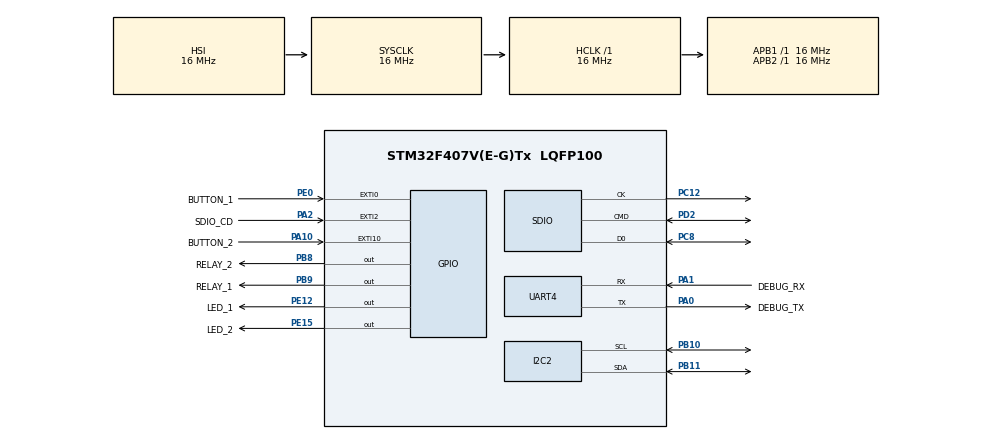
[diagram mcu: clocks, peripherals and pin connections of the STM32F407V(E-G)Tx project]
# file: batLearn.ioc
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FATFS._USE_LABEL=1
I2C2.I2C_Mode=I2C_Fast
Mcu.Family=STM32F4
Mcu.Name=STM32F407V(E-G)Tx
Mcu.Package=LQFP100
NVIC.EXTI0_IRQn=true\:0\:0\:false\:false\:true\:true
NVIC.EXTI15_10_IRQn=true\:0\:0\:false\:false\:true\:true
NVIC.EXTI2_IRQn=true\:0\:0\:false\:false\:true\:true
NVIC.PriorityGroup=NVIC_PRIORITYGROUP_4
NVIC.SDIO_IRQn=true\:0\:0\:false\:false\:true\:true
NVIC.TIM6_DAC_IRQn=true\:0\:0\:false\:false\:true\:true
NVIC.TIM7_IRQn=true\:0\:0\:false\:false\:true\:true
NVIC.UART4_IRQn=true\:0\:0\:false\:false\:true\:true
PA0-WKUP.GPIO_Label=DEBUG_TX
PA0-WKUP.Mode=Asynchronous
PA0-WKUP.Signal=UART4_TX
PA1.GPIO_Label=DEBUG_RX
PA1.Mode=Asynchronous
PA1.Signal=UART4_RX
PA10.GPIO_Label=BUTTON_2
PA10.GPIO_ModeDefaultEXTI=GPIO_MODE_IT_RISING_FALLING
PA10.Signal=GPXTI10
PA13.Mode=Serial_Wire
PA13.Signal=SYS_JTMS-SWDIO
PA14.Mode=Serial_Wire
PA14.Signal=SYS_JTCK-SWCLK
PA2.GPIO_Label=SDIO_CD
PA2.GPIO_ModeDefaultEXTI=GPIO_MODE_IT_RISING_FALLING
PA2.Signal=GPXTI2
PB10.Mode=I2C
PB10.Signal=I2C2_SCL
PB11.Mode=I2C
PB11.Signal=I2C2_SDA
PB8.GPIO_Label=RELAY_2
PB8.Signal=GPIO_Output
PB9.GPIO_Label=RELAY_1
PB9.Signal=GPIO_Output
PC12.Mode=SD_1_bit
PC12.Signal=SDIO_CK
PC14-OSC32_IN.Mode=LSE-External-Oscillator
PC14-OSC32_IN.Signal=RCC_OSC32_IN
PC15-OSC32_OUT.Mode=LSE-External-Oscillator
PC15-OSC32_OUT.Signal=RCC_OSC32_OUT
PC8.Mode=SD_1_bit
PC8.Signal=SDIO_D0
PD2.Mode=SD_1_bit
PD2.Signal=SDIO_CMD
PE0.GPIO_Label=BUTTON_1
PE0.GPIO_ModeDefaultEXTI=GPIO_MODE_IT_RISING_FALLING
PE0.Signal=GPXTI0
PE12.GPIO_Label=LED_1
PE12.Signal=GPIO_Output
PE15.GPIO_Label=LED_2
PE15.Signal=GPIO_Output
PH0-OSC_IN.Mode=HSE-External-Oscillator
PH0-OSC_IN.Signal=RCC_OSC_IN
PH1-OSC_OUT.Mode=HSE-External-Oscillator
PH1-OSC_OUT.Signal=RCC_OSC_OUT
ProjectManager.HeapSize=0x400
ProjectManager.StackSize=0x800
ProjectManager.TargetToolchain=Makefile
RCC.AHBFreq_Value=16000000
RCC.APB1Freq_Value=16000000
RCC.APB2Freq_Value=16000000
RCC.CortexFreq_Value=16000000
RCC.HSE_VALUE=25000000
RCC.HSI_VALUE=16000000
RCC.SYSCLKFreq_VALUE=16000000
RCC.VCOOutputFreq_Value=192000000
TIM6.Period=999
TIM6.Prescaler=15999
TIM7.Period=99
TIM7.Prescaler=159
UART4.VirtualMode=Asynchronous
VP_FATFS_VS_SDIO.Mode=SDIO
VP_RTC_VS_RTC_Activate.Mode=RTC_Enabled
VP_TIM6_VS_ClockSourceINT.Mode=Enable_Timer
VP_TIM7_VS_ClockSourceINT.Mode=Enable_Timer
board=batLearn

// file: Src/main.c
/**
  ******************************************************************************
  * @file           : main.c
  * @brief          : Main program body
  ******************************************************************************
  * This notice applies to any and all portions of this file
  * that are not between comment pairs USER CODE BEGIN and
  * USER CODE END. Other portions of this file, whether
  * inserted by the user or by software development tools
  * are owned by their respective copyright owners.
  *
  * Copyright (c) 2018 STMicroelectronics International N.V.
  * All rights reserved.
  *
  * Redistribution and use in source and binary forms, with or without
  * modification, are permitted, provided that the following conditions are met:
  *
  * 1. Redistribution of source code must retain the above copyright notice,
  *    this list of conditions and the following disclaimer.
  * 2. Redistributions in binary form must reproduce the above copyright notice,
  *    this list of conditions and the following disclaimer in the documentation
  *    and/or other materials provided with the distribution.
  * 3. Neither the name of STMicroelectronics nor the names of other
  *    contributors to this software may be used to endorse or promote products
  *    derived from this software without specific written permission.
  * 4. This software, including modifications and/or derivative works of this
  *    software, must execute solely and exclusively on microcontroller or
  *    microprocessor devices manufactured by or for STMicroelectronics.
  * 5. Redistribution and use of this software other than as permitted under
  *    this license is void and will automatically terminate your rights under
  *    this license.
  *
  * THIS SOFTWARE IS PROVIDED BY STMICROELECTRONICS AND CONTRIBUTORS "AS IS"
  * AND ANY EXPRESS, IMPLIED OR STATUTORY WARRANTIES, INCLUDING, BUT NOT
  * LIMITED TO, THE IMPLIED WARRANTIES OF MERCHANTABILITY, FITNESS FOR A
  * PARTICULAR PURPOSE AND NON-INFRINGEMENT OF THIRD PARTY INTELLECTUAL PROPERTY
  * RIGHTS ARE DISCLAIMED TO THE FULLEST EXTENT PERMITTED BY LAW. IN NO EVENT
  * SHALL STMICROELECTRONICS OR CONTRIBUTORS BE LIABLE FOR ANY DIRECT, INDIRECT,
  * INCIDENTAL, SPECIAL, EXEMPLARY, OR CONSEQUENTIAL DAMAGES (INCLUDING, BUT NOT
  * LIMITED TO, PROCUREMENT OF SUBSTITUTE GOODS OR SERVICES; LOSS OF USE, DATA,
  * OR PROFITS; OR BUSINESS INTERRUPTION) HOWEVER CAUSED AND ON ANY THEORY OF
  * LIABILITY, WHETHER IN CONTRACT, STRICT LIABILITY, OR TORT (INCLUDING
  * NEGLIGENCE OR OTHERWISE) ARISING IN ANY WAY OUT OF THE USE OF THIS SOFTWARE,
  * EVEN IF ADVISED OF THE POSSIBILITY OF SUCH DAMAGE.
  *
  ******************************************************************************
  */
#include "main.h"
#include "stm32f4xx_hal.h"
#include "fatfs.h"
#include "i2c.h"
#include "rtc.h"
#include "sdio.h"
#include "tim.h"
#include "usart.h"
#include "gpio.h"

/* USER CODE BEGIN Includes */
#include <stdio.h>
#include "bq27421.h"
#include "bq24157.h"

/* USER CODE END Includes */

/* USER CODE BEGIN PV */
/* Private variables ---------------------------------------------------------*/
#define APP_VER_MAJOR   0
#define APP_VER_MINOR   2

/* USER CODE END PV */

void SystemClock_Config(void);

/* USER CODE BEGIN PFP */
/* Private function prototypes -----------------------------------------------*/

/* USER CODE END PFP */

int main(void)
{

  /* MCU Configuration----------------------------------------------------------*/

  /* Reset of all peripherals, Initializes the Flash interface and the Systick. */
  HAL_Init();

  /* Configure the system clock */
  SystemClock_Config();

  /* Initialize all configured peripherals */
  MX_GPIO_Init();
  MX_I2C2_Init();
  MX_UART4_Init();
  MX_TIM6_Init();
  MX_TIM7_Init();
  MX_SDIO_SD_Init();
  MX_FATFS_Init();
  MX_RTC_Init();
  /* USER CODE BEGIN 2 */

  HAL_TIM_Base_Start_IT(&htim6);
  HAL_TIM_Base_Start_IT(&htim7);

  /* USER CODE END 2 */

  /* Infinite loop */
  /* USER CODE BEGIN WHILE */
  printf("\n\rBattery Learning App v%d.%d\n\r", APP_VER_MAJOR, APP_VER_MINOR);
  while (1)
  {

  /* USER CODE END WHILE */

  }

}

void SystemClock_Config(void)
{

  RCC_OscInitTypeDef RCC_OscInitStruct;
  RCC_ClkInitTypeDef RCC_ClkInitStruct;
  RCC_PeriphCLKInitTypeDef PeriphClkInitStruct;

    /**Configure the main internal regulator output voltage
    */
  __HAL_RCC_PWR_CLK_ENABLE();

  __HAL_PWR_VOLTAGESCALING_CONFIG(PWR_REGULATOR_VOLTAGE_SCALE1);

    /**Initializes the CPU, AHB and APB busses clocks
    */
  RCC_OscInitStruct.OscillatorType = RCC_OSCILLATORTYPE_HSI|RCC_OSCILLATORTYPE_LSI;
  RCC_OscInitStruct.HSIState = RCC_HSI_ON;
  RCC_OscInitStruct.HSICalibrationValue = 16;
  RCC_OscInitStruct.LSIState = RCC_LSI_ON;
  RCC_OscInitStruct.PLL.PLLState = RCC_PLL_ON;
  RCC_OscInitStruct.PLL.PLLSource = RCC_PLLSOURCE_HSI;
  RCC_OscInitStruct.PLL.PLLM = 16;
  RCC_OscInitStruct.PLL.PLLN = 192;
  RCC_OscInitStruct.PLL.PLLP = RCC_PLLP_DIV2;
  RCC_OscInitStruct.PLL.PLLQ = 4;
  if (HAL_RCC_OscConfig(&RCC_OscInitStruct) != HAL_OK)
  {
    _Error_Handler(__FILE__, __LINE__);
  }

    /**Initializes the CPU, AHB and APB busses clocks
    */
  RCC_ClkInitStruct.ClockType = RCC_CLOCKTYPE_HCLK|RCC_CLOCKTYPE_SYSCLK
                              |RCC_CLOCKTYPE_PCLK1|RCC_CLOCKTYPE_PCLK2;
  RCC_ClkInitStruct.SYSCLKSource = RCC_SYSCLKSOURCE_HSI;
  RCC_ClkInitStruct.AHBCLKDivider = RCC_SYSCLK_DIV1;
  RCC_ClkInitStruct.APB1CLKDivider = RCC_HCLK_DIV1;
  RCC_ClkInitStruct.APB2CLKDivider = RCC_HCLK_DIV1;

  if (HAL_RCC_ClockConfig(&RCC_ClkInitStruct, FLASH_LATENCY_0) != HAL_OK)
  {
    _Error_Handler(__FILE__, __LINE__);
  }

  PeriphClkInitStruct.PeriphClockSelection = RCC_PERIPHCLK_RTC;
  PeriphClkInitStruct.RTCClockSelection = RCC_RTCCLKSOURCE_LSI;
  if (HAL_RCCEx_PeriphCLKConfig(&PeriphClkInitStruct) != HAL_OK)
  {
    _Error_Handler(__FILE__, __LINE__);
  }

    /**Configure the Systick interrupt time
    */
  HAL_SYSTICK_Config(HAL_RCC_GetHCLKFreq()/1000);

    /**Configure the Systick
    */
  HAL_SYSTICK_CLKSourceConfig(SYSTICK_CLKSOURCE_HCLK);

  /* SysTick_IRQn interrupt configuration */
  HAL_NVIC_SetPriority(SysTick_IRQn, 0, 0);
}

/* USER CODE BEGIN 4 */

void HAL_GPIO_EXTI_Callback(uint16_t GPIO_Pin)
{
  if(GPIO_Pin == BUTTON_1_Pin)
  { // Button 1 pushed

  }
  else if(GPIO_Pin == BUTTON_2_Pin)
  { // Button 2 pushed

  }
  else if(GPIO_Pin == SDIO_CD_Pin)
  { // Card Detect Change
    if(HAL_GPIO_ReadPin(SDIO_CD_GPIO_Port, SDIO_CD_Pin) == 0)
    { // Card Inserted

    }
    else
    { // Card Removed

    }
  }
  else
  { // Error
    _Error_Handler(__FILE__, __LINE__);
  }
}

void HAL_TIM_PeriodElapsedCallback(TIM_HandleTypeDef *htim)
{
  if(htim->Instance == htim7.Instance)
  { // 1 millisecond timer

  }
  else if(htim->Instance == htim6.Instance)
  { // 1 second timer

  }
  else
  { // error
    _Error_Handler(__FILE__, __LINE__);
  }
}
/* USER CODE END 4 */

void _Error_Handler(char *file, int line)
{
  /* USER CODE BEGIN Error_Handler_Debug */
  /* User can add his own implementation to report the HAL error return state */
  printf("Error: file %s on line %d\r\n", file, line);
  __BKPT(0);
  while(1)
  {

  }
  /* USER CODE END Error_Handler_Debug */
}

#ifdef  USE_FULL_ASSERT
/**
  * @brief  Reports the name of the source file and the source line number
  *         where the assert_param error has occurred.
  * @param  file: pointer to the source file name
  * @param  line: assert_param error line source number
  * @retval None
  */
void assert_failed(uint8_t* file, uint32_t line)
{
  /* USER CODE BEGIN 6 */
  printf("Wrong parameters value: file %s on line %ld\r\n", file, line);
  __BKPT(0);
  while(1)
  {

  }
  /* USER CODE END 6 */
}
#endif /* USE_FULL_ASSERT */

/************************ (C) COPYRIGHT STMicroelectronics *****END OF FILE****/
